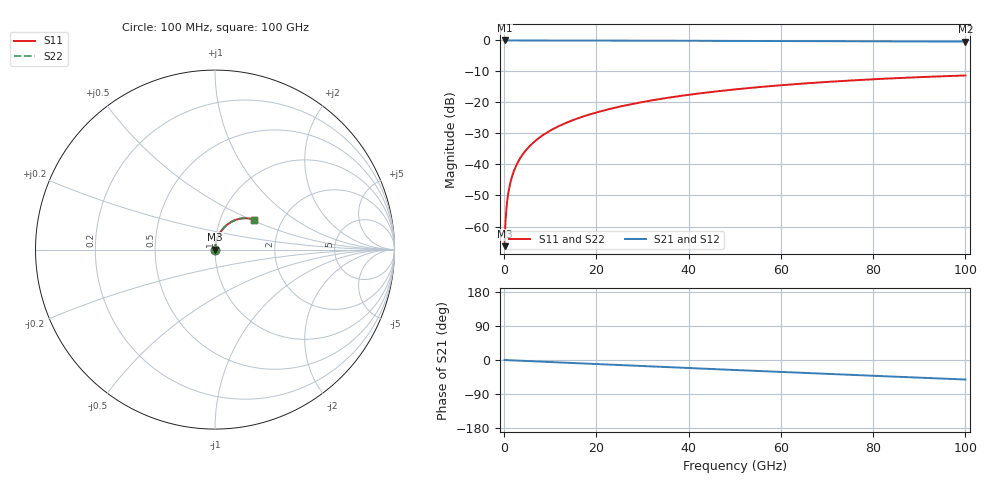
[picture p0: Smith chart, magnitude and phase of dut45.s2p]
! Touchstone file exported from HFSS 2026.1.0
!  File:  C:/ffzhzh/LocalFiles/Ansys_Project_Files/temp_train_TSV_45_1783504837_31944.aedt
!  Generated:  06:01:53 PM Jul  8, 2026
!  Design:  TSV
!  Project:  temp_train_TSV_45_1783504837_31944
! Variables:
!  h_bsmrdl = 2um
!  h_ox = 20um
!  h_rdl = 5um
!  h_sub = 99.64um
!  h_tmrdl = 5um
!  h_tsv = 99.64um
!  h_via = 3um
!  l_bsmrdl = 300um
!  l_sub = 413.82um
!  l_tmrdl = 200um
!  m_sub = 200um
!  pitch = 48.5um
!  r_tsv = 6.91um
!  s_tmrdl = 10um
!  w_bsmrdl = 18um
!  w_sub = 500um
!  w_tmrdl = 12um
!  x_tsv_center1 = 206um
!  x_tsv_center2 = 524um
!  x_tsv_center3 = 736um
!  x_tsv_center4 = 1054um
!  x_tsv_center5 = 1266um
!  x_tsv_center6 = 1584um
# GHz S MA R 50.000000
! Terminal data exported
! Port[1] = TSV1_1_T1
! Port[2] = TSV1_1_T2
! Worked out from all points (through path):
!   1000 points, 100 MHz to 100 GHz, reference 50 ohm
!   highest |S21| = 0.00 dB at 100 MHz (marker M1); lowest = -0.4 dB at 100 GHz (marker M2)
!   group delay of S21, straight-line fit = 1.43 ps
!   lowest |S11| = -66.3 dB at 100 MHz (marker M3), VSWR 1.00, Z = 50 + j0.0398 ohm
!   |S11| at or under -10 dB: start of sweep to end of sweep
!   |S22| runs from -66.3 to -11.3 dB; largest |S21 - S12| = 2.6e-15
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0.1  0.0004818 55.6  0.9997 -0.1  0.9997 -0.1  0.0004818 55.6
! Gamma 0 0 0 0
! Port Impedance 50 0 50 0
0.4  0.00159 78.1  0.9997 -0.2  0.9997 -0.2  0.00159 78.1
0.7  0.002703 81.6  0.9996 -0.4  0.9996 -0.4  0.002703 81.6
0.8  0.003072 82.2  0.9996 -0.4  0.9996 -0.4  0.003072 82.2
1  0.003808 83.0  0.9996 -0.6  0.9996 -0.6  0.003808 83.0
1.3  0.004905 83.7  0.9995 -0.7  0.9995 -0.7  0.004905 83.7
1.7  0.006354 84.1  0.9994 -0.9  0.9994 -0.9  0.006354 84.1
2.3  0.0085 84.3  0.9993 -1.3  0.9993 -1.3  0.0085 84.3
3  0.01097 84.4  0.9992 -1.6  0.9992 -1.6  0.01097 84.4
3.8  0.01377 84.3  0.999 -2.1  0.999 -2.1  0.01377 84.3
4.8  0.01725 84.2  0.9989 -2.6  0.9989 -2.6  0.01725 84.1
6  0.02141 83.9  0.9987 -3.2  0.9987 -3.2  0.02141 83.8
8.8  0.03107 82.8  0.9982 -4.7  0.9982 -4.7  0.03107 82.8
12.4  0.04338 81.3  0.9975 -6.7  0.9975 -6.7  0.04338 81.2
16.8  0.05826 79.2  0.9965 -9.0  0.9965 -9.0  0.05826 79.2
24.2  0.08284 75.6  0.9944 -12.9  0.9944 -12.9  0.08284 75.6
33.4  0.1124 71.0  0.9911 -17.8  0.9911 -17.8  0.1124 71.0
41.2  0.1365 67.0  0.9878 -21.8  0.9878 -21.8  0.1365 67.0
50.1  0.1625 62.5  0.9836 -26.4  0.9836 -26.4  0.1625 62.5
66.7  0.2064 54.2  0.975 -34.9  0.975 -34.9  0.2064 54.1
83.4  0.2435 45.9  0.9661 -43.3  0.9661 -43.3  0.2435 45.9
100  0.2723 37.8  0.9581 -51.5  0.9581 -51.5  0.2723 37.8
